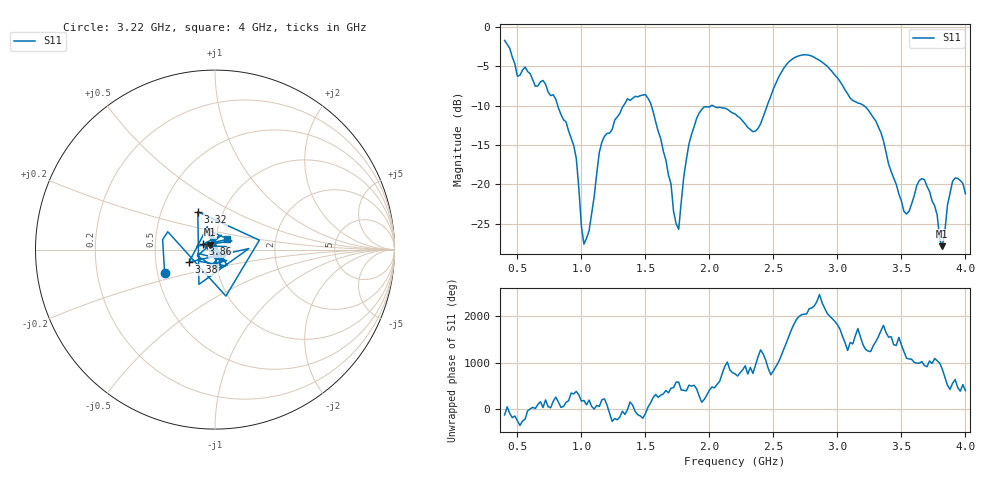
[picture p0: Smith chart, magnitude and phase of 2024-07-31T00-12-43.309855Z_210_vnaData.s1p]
!Created with skrf (http://scikit-rf.org).
# Hz S RI R 50.0
!freq ReS11 ImS11
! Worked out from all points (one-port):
!   181 points, 400 MHz to 4 GHz, reference 50 ohm
!   lowest |S11| = -27.9 dB at 3.82 GHz (marker M1), VSWR 1.08, Z = 47.1 + j2.6 ohm
!   |S11| at or under -10 dB: 815 MHz to 1.329 GHz (514.1 MHz wide, 48 % of centre); 1.546 GHz to 2.016 GHz (469.4 MHz wide, 26.4 % of centre); 3.206 GHz to end of sweep (the widest 3 of 4)
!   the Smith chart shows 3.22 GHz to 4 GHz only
!   S11 on the Smith chart (normalised r, x): 3.22 GHz: 0.55, -0.16; 3.32 GHz: 0.76, +0.34; 3.38 GHz: 0.74, -0.11; 3.86 GHz: 0.87, +0.05; 4 GHz: 1.13, +0.13
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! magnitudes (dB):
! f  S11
! 400 MHz  -1.7
! 500 MHz  -6.3
! 700 MHz  -6.8
! 860 MHz  -11.8
! 960 MHz  -16.7
! 1.02 GHz  -27.6
! 1.06 GHz  -25.9
! 1.16 GHz  -14.7
! 1.3 GHz  -11.0
! 1.54 GHz  -9.7
! 1.76 GHz  -25.7
! 1.84 GHz  -14.9
! 1.92 GHz  -10.9
! 2.2 GHz  -11.1
! 2.36 GHz  -13.2
! 2.66 GHz  -3.9
! 2.88 GHz  -4.5
! 3.1 GHz  -9.1
! 3.22 GHz  -10.2
! 3.32 GHz  -12.7
! 3.38 GHz  -15.9
! 3.52 GHz  -23.5
! 3.56 GHz  -23.4
! 3.68 GHz  -19.4
! 3.82 GHz  -27.9
! 3.86 GHz  -22.6
! 3.92 GHz  -19.2
! 4 GHz  -21.2
